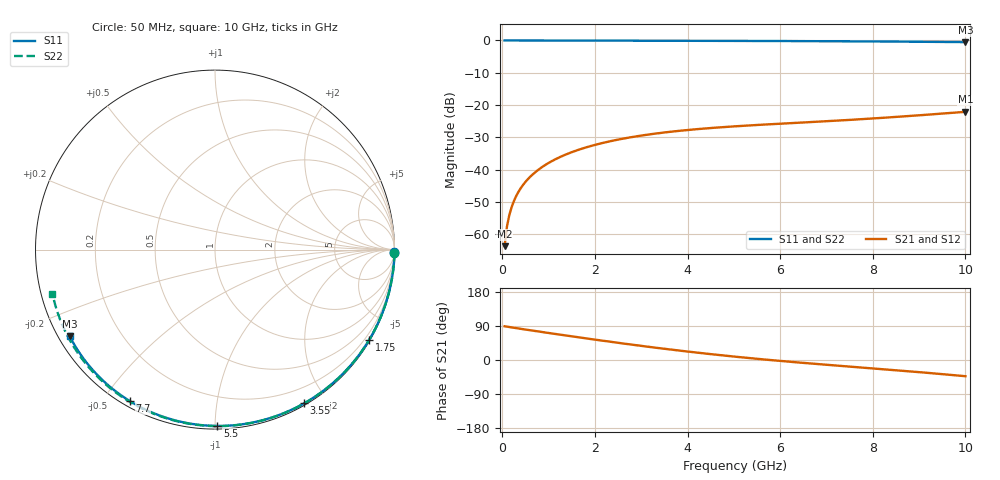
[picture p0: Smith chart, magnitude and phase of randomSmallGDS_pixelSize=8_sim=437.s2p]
! freq	dB(S11)	phase(S11)	dB(S12)	phase(S12)
!  dB(S21)	phase(S21)	dB(S22)	phase(S22)
!S-par simulation data
#  GHz  S  DB  R 50
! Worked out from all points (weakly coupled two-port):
!   200 points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, 50 MHz to 10 GHz, reference 50 ohm
!   highest |S21| = -22.10 dB at 10 GHz (marker M1); lowest = -63.7 dB at 50 MHz (marker M2)
!   lowest |S11| = -0.5 dB at 10 GHz (marker M3), VSWR 33.86, Z = 1.59 - j13.7 ohm
!   |S11| at or under -10 dB: nowhere
!   |S22| runs from -0.6 to 0.0 dB; largest |S21 - S12| = 0
!   S11 on the Smith chart (normalised r, x): 50 MHz: open; 1.75 GHz: 0.03, -3.68; 3.55 GHz: 0.02, -1.73; 5.5 GHz: 0.02, -1.01; 7.7 GHz: 0.02, -0.58; 10 GHz: 0.03, -0.27
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0.05  -0.00 -0.9  -63.69 89.0  -63.69 89.0  -0.00 -1.0
0.1  -0.00 -1.8  -57.67 88.0  -57.67 88.0  -0.00 -2.0
0.15  -0.00 -2.7  -54.16 87.0  -54.16 87.0  -0.00 -2.9
0.2  -0.00 -3.5  -51.67 86.0  -51.67 86.0  -0.00 -3.9
0.25  -0.00 -4.4  -49.74 85.0  -49.74 85.0  -0.00 -4.9
0.35  -0.00 -6.2  -46.85 83.1  -46.85 83.1  -0.01 -6.8
0.5  -0.01 -8.8  -43.79 80.3  -43.79 80.3  -0.01 -9.7
0.7  -0.01 -12.3  -40.92 76.7  -40.92 76.7  -0.02 -13.6
1  -0.02 -17.5  -37.92 71.3  -37.92 71.3  -0.02 -19.4
1.35  -0.03 -23.6  -35.44 65.1  -35.44 65.1  -0.03 -26.0
1.75  -0.04 -30.4  -33.36 58.1  -33.36 58.1  -0.04 -33.5
2.6  -0.06 -44.6  -30.42 43.7  -30.42 43.7  -0.07 -49.2
3.4  -0.08 -57.5  -28.66 31.1  -28.66 31.1  -0.09 -63.3
3.55  -0.09 -59.9  -28.40 28.8  -28.40 28.8  -0.09 -65.9
4.3  -0.11 -71.5  -27.34 18.2  -27.34 18.2  -0.12 -78.6
5.05  -0.13 -82.7  -26.56 8.5  -26.56 8.5  -0.15 -90.8
5.5  -0.15 -89.2  -26.17 3.1  -26.17 3.1  -0.17 -97.9
6.7  -0.21 -106.0  -25.24 -9.6  -25.24 -9.6  -0.23 -116.2
7.7  -0.28 -119.4  -24.42 -19.3  -24.42 -19.3  -0.31 -131.0
8.35  -0.34 -127.9  -23.82 -25.5  -23.82 -25.5  -0.36 -140.5
9.2  -0.42 -138.9  -22.96 -34.1  -22.96 -34.1  -0.45 -152.9
10  -0.51 -149.3  -22.10 -42.8  -22.10 -42.8  -0.55 -164.9
